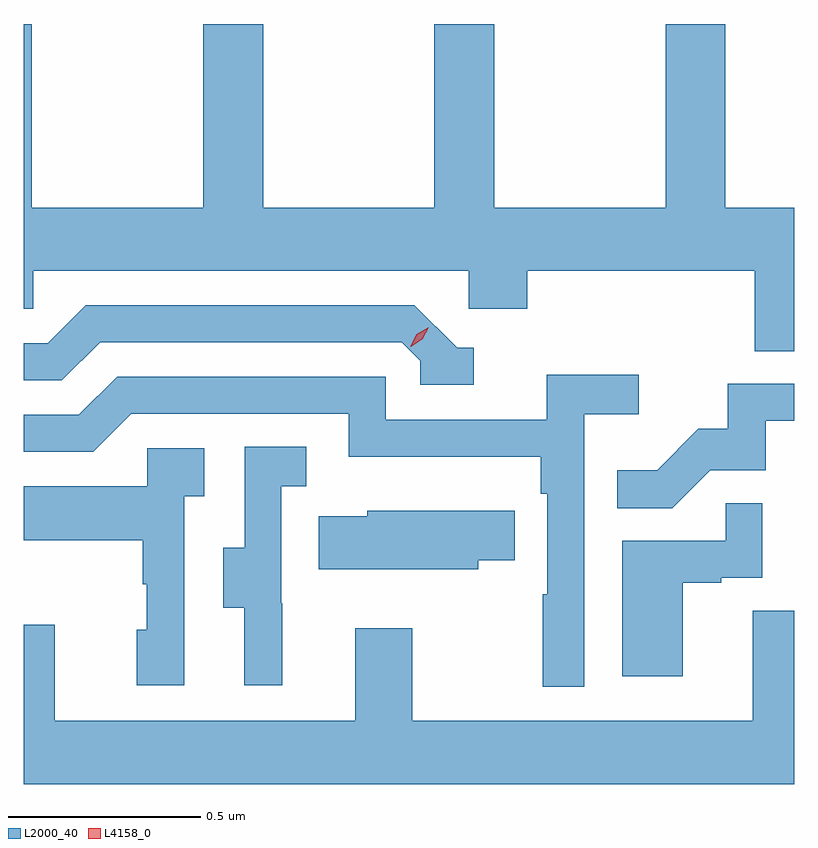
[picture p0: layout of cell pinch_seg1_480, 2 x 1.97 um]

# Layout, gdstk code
import gdstk
lib = gdstk.Library(unit=1e-6, precision=1e-09)
def P(c, l, *ps):  # polygons
    for p in ps: c.add(gdstk.Polygon(p, *l))
L2000_40 = (2000, 40)
L4158_0 = (4158, 0)

pinch_seg1_480 = lib.new_cell('pinch_seg1_480')
P(pinch_seg1_480, L2000_40, [(1079.275,525.733),(1079.275,525.256),(1078.83,525.256),(1078.83,525.733),(1078.675,525.733),(1078.675,525.256),(1078.23,525.256),(1078.23,525.733),(1078.209,525.733),(1078.209,524.994),(1078.233,524.994),(1078.233,525.092),(1079.364,525.092),(1079.364,524.994),(1079.516,524.994),(1079.516,525.092),(1080.107,525.092),(1080.107,524.884),(1080.209,524.884),(1080.209,525.256),(1080.03,525.256),(1080.03,525.733),(1079.875,525.733),(1079.875,525.256),(1079.43,525.256),(1079.43,525.733)],
  [(1079.377,524.892),(1079.334,524.892),(1079.223,525.003),(1078.37,525.003),(1078.271,524.904),(1078.209,524.904),(1078.209,524.808),(1078.308,524.808),(1078.407,524.907),(1079.19,524.907),(1079.238,524.859),(1079.238,524.796),(1079.377,524.796)],
  [(1079.664,524.72),(1079.806,524.72),(1079.806,524.822),(1079.567,524.822),(1079.567,524.706),(1079.148,524.706),(1079.148,524.817),(1078.451,524.817),(1078.352,524.718),(1078.209,524.718),(1078.209,524.622),(1078.389,524.622),(1078.488,524.721),(1079.052,524.721),(1079.052,524.609),(1079.551,524.609),(1079.551,524.513),(1079.568,524.513),(1079.568,524.252),(1079.556,524.252),(1079.556,524.013),(1079.664,524.013)],
  [(1079.991,524.574),(1080.135,524.574),(1080.135,524.703),(1080.209,524.703),(1080.209,524.799),(1080.037,524.799),(1080.037,524.682),(1079.96,524.682),(1079.853,524.575),(1079.749,524.575),(1079.749,524.476),(1079.893,524.476)],
  [(1078.88,524.229),(1078.878,524.229),(1078.878,524.533),(1078.942,524.533),(1078.942,524.636),(1078.782,524.636),(1078.782,524.373),(1078.727,524.373),(1078.727,524.218),(1078.781,524.218),(1078.781,524.016),(1078.88,524.016)],
  [(1078.626,524.507),(1078.678,524.507),(1078.678,524.631),(1078.53,524.631),(1078.53,524.533),(1078.209,524.533),(1078.209,524.393),(1078.518,524.393),(1078.518,524.279),(1078.528,524.279),(1078.528,524.16),(1078.502,524.16),(1078.502,524.016),(1078.626,524.016)],
  [(1079.92,524.283),(1080.02,524.283),(1080.02,524.295),(1080.126,524.295),(1080.126,524.489),(1080.031,524.489),(1080.031,524.391),(1079.762,524.391),(1079.762,524.04),(1079.92,524.04)],
  [(1079.389,524.341),(1079.483,524.341),(1079.483,524.469),(1079.372,524.469),(1079.372,524.47),(1079.1,524.47),(1079.1,524.455),(1078.975,524.455),(1078.975,524.318),(1079.389,524.318)],
  [(1080.209,524.21),(1080.101,524.21),(1080.101,523.924),(1079.217,523.924),(1079.217,524.164),(1079.069,524.164),(1079.069,523.924),(1078.289,523.924),(1078.289,524.173),(1078.209,524.173),(1078.209,523.76),(1080.209,523.76)])
P(pinch_seg1_480, L4158_0, [(1079.212,524.895),(1079.212,524.895),(1079.229,524.927),(1079.26,524.946),(1079.26,524.946),(1079.26,524.946),(1079.244,524.914),(1079.213,524.895)])

lib.write_gds('pinch_seg1_480.gds')
